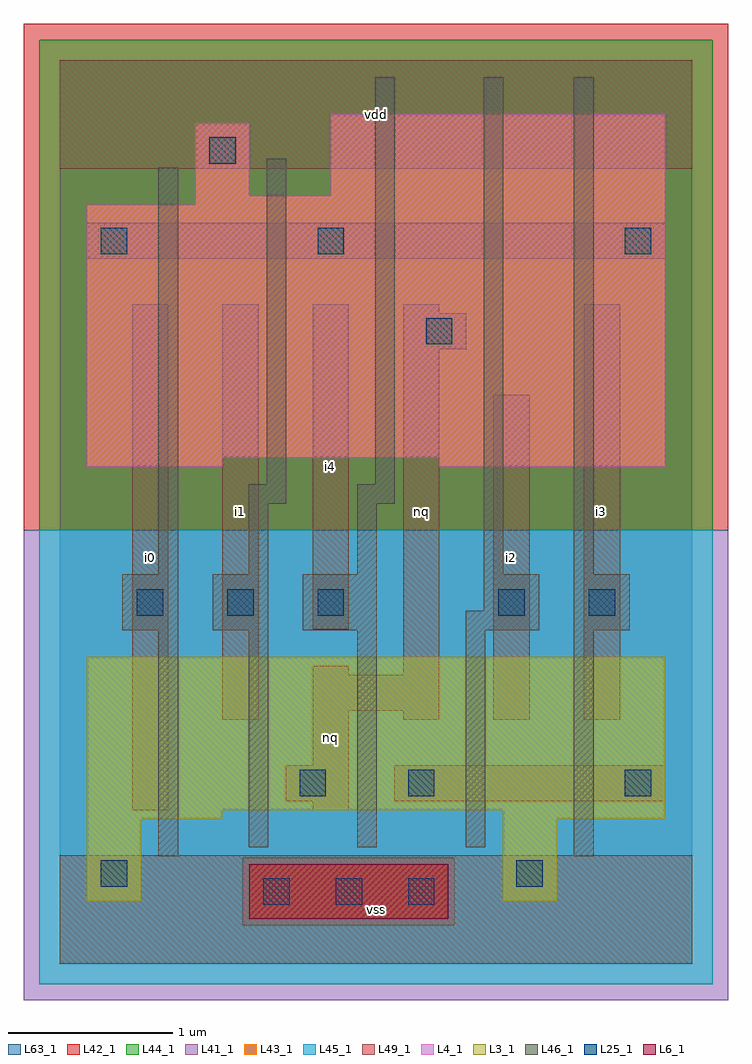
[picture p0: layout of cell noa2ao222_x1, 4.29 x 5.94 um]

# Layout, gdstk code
import gdstk
lib = gdstk.Library(unit=1e-6, precision=1e-09)
def R(c, l, rs):  # rectangles x0, y0, x1, y1
    for r in rs: c.add(gdstk.rectangle(r[:2], r[2:], *l))
def A(c, l, x, y, w, h, nx, ny, dx, dy):  # array of equal rectangles
    R(c, l, [(x+i*dx, y+j*dy, x+i*dx+w, y+j*dy+h) for i in range(nx) for j in range(ny)])
L3_1 = (3, 1)
L4_1 = (4, 1)
L6_1 = (6, 1)
L25_1 = (25, 1)
L41_1 = (41, 1)
L42_1 = (42, 1)
L43_1 = (43, 1)
L44_1 = (44, 1)
L45_1 = (45, 1)
L46_1 = (46, 1)
L49_1 = (49, 1)
L63_1 = (63, 1)

noa2ao222_x1 = lib.new_cell('noa2ao222_x1')
R(noa2ao222_x1, L3_1, [(0.165,0.385,0.495,0.88), (2.695,0.385,3.025,0.88), (0.165,0.88,0.99,0.935), (2.695,0.88,3.685,0.935), (0.165,0.935,3.685,1.87)])
R(noa2ao222_x1, L4_1, [(0.165,3.025,0.99,3.08), (2.31,3.025,3.685,3.08), (0.165,3.08,3.685,4.62), (0.825,4.62,3.685,4.675), (0.825,4.675,1.155,5.115), (1.65,4.675,3.685,5.17)])
R(noa2ao222_x1, L6_1, [(1.155,0.275,2.365,0.605)])
A(noa2ao222_x1, L25_1, 1.24, 0.36, 0.16, 0.16, 3, 1, 0.44, 0)
A(noa2ao222_x1, L25_1, 0.47, 2.12, 0.16, 0.16, 3, 1, 0.55, 0)
R(noa2ao222_x1, L25_1, [(0.25,0.47,0.41,0.63), (2.78,0.47,2.94,0.63), (1.46,1.02,1.62,1.18), (2.12,1.02,2.28,1.18), (3.44,1.02,3.6,1.18), (2.67,2.12,2.83,2.28), (3.22,2.12,3.38,2.28), (2.23,3.77,2.39,3.93), (0.25,4.32,0.41,4.48), (1.57,4.32,1.73,4.48), (3.44,4.32,3.6,4.48), (0.91,4.87,1.07,5.03)])
R(noa2ao222_x1, L41_1, [(-0.22,-0.22,4.07,2.64)])
R(noa2ao222_x1, L42_1, [(-0.22,2.64,4.07,5.72)])
R(noa2ao222_x1, L43_1, [(1.155,0.275,2.365,0.605), (0.165,0.385,0.495,0.88), (2.695,0.385,3.025,0.88), (0.165,0.88,0.99,0.935), (2.695,0.88,3.685,0.935), (0.165,0.935,3.685,1.87), (0.165,3.025,0.99,3.08), (2.31,3.025,3.685,3.08), (0.165,3.08,3.685,4.62), (0.825,4.62,3.685,4.675), (0.825,4.675,1.155,5.115), (1.65,4.675,3.685,5.17)])
R(noa2ao222_x1, L44_1, [(1.115,0.235,2.405,0.645), (-0.125,2.64,3.975,5.625)])
R(noa2ao222_x1, L45_1, [(-0.125,-0.125,3.975,0.235), (-0.125,0.235,1.115,0.645), (2.405,0.235,3.975,0.645), (-0.125,0.645,3.975,2.64)])
A(noa2ao222_x1, L46_1, 1.15, 0.71, 0.12, 1.32, 3, 1, 0.66, 0)
R(noa2ao222_x1, L46_1, [(0.6,0.655,0.72,2.03), (3.13,0.655,3.25,2.03), (0.38,2.03,0.72,2.37), (0.93,2.03,1.27,2.37), (1.48,2.03,1.93,2.37), (2.47,2.03,2.92,2.15), (3.13,2.03,3.47,2.37), (2.58,2.15,2.92,2.37), (0.6,2.37,0.72,4.845), (1.15,2.37,1.27,2.8), (1.81,2.37,1.93,2.8), (2.58,2.37,2.7,5.395), (3.13,2.37,3.25,5.395), (1.15,2.8,1.38,2.92), (1.81,2.8,2.04,2.92), (1.26,2.92,1.38,4.9), (1.92,2.92,2.04,5.395)])
R(noa2ao222_x1, L49_1, [(0,0,3.85,0.66), (0.44,0.935,0.66,4.015), (1.54,0.935,1.76,0.99), (1.375,0.99,1.76,1.21), (2.035,0.99,3.685,1.21), (1.54,1.21,1.76,1.54), (0.99,1.485,1.21,4.015), (2.09,1.485,2.31,1.54), (2.64,1.485,2.86,3.465), (3.19,1.485,3.41,4.015), (1.54,1.54,2.31,1.76), (1.54,1.76,1.76,1.815), (2.09,1.76,2.31,3.74), (1.54,2.035,1.76,4.015), (2.09,3.74,2.475,3.96), (2.09,3.96,2.31,4.015), (0.165,4.29,3.685,4.51), (0,4.84,3.85,5.5)])
R(noa2ao222_x1, L63_1, [(0,0,3.85,5.5)])
noa2ao222_x1.add(gdstk.Label('i0', (0.55,2.475), layer=49, texttype=1))
noa2ao222_x1.add(gdstk.Label('nq', (1.65,1.375), layer=49, texttype=1))
noa2ao222_x1.add(gdstk.Label('i1', (1.1,2.75), layer=49, texttype=1))
noa2ao222_x1.add(gdstk.Label('i4', (1.65,3.025), layer=49, texttype=1))
noa2ao222_x1.add(gdstk.Label('vss', (1.925,0.33), layer=49, texttype=1))
noa2ao222_x1.add(gdstk.Label('i2', (2.75,2.475), layer=49, texttype=1))
noa2ao222_x1.add(gdstk.Label('nq', (2.2,2.75), layer=49, texttype=1))
noa2ao222_x1.add(gdstk.Label('vdd', (1.925,5.17), layer=49, texttype=1))
noa2ao222_x1.add(gdstk.Label('i3', (3.3,2.75), layer=49, texttype=1))

lib.write_gds('noa2ao222_x1.gds')
